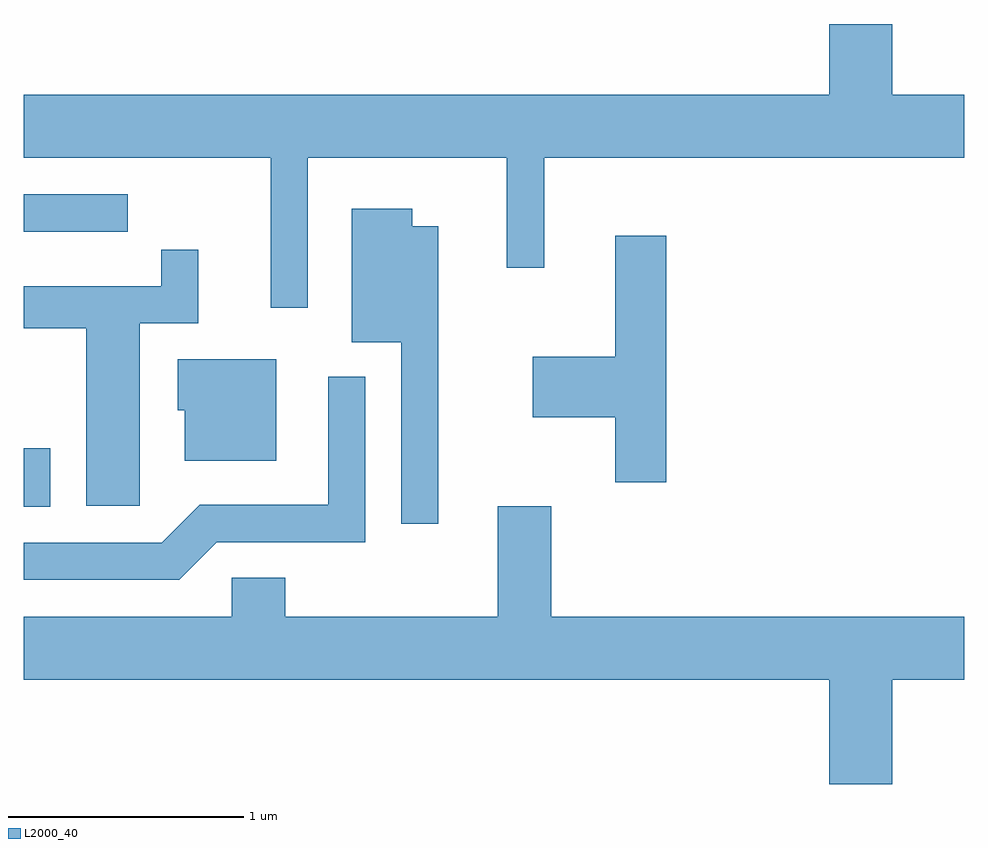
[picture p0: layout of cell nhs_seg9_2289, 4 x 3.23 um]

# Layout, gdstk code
import gdstk
lib = gdstk.Library(unit=1e-6, precision=1e-09)
def R(c, l, rs):  # rectangles x0, y0, x1, y1
    for r in rs: c.add(gdstk.rectangle(r[:2], r[2:], *l))
def P(c, l, *ps):  # polygons
    for p in ps: c.add(gdstk.Polygon(p, *l))
L2000_40 = (2000, 40)

nhs_seg9_2289 = lib.new_cell('nhs_seg9_2289')
R(nhs_seg9_2289, L2000_40, [(251.611,2043.611,251.724,2043.859), (251.611,2044.781,252.053,2044.939)])
P(nhs_seg9_2289, L2000_40, [(252.819,2045.096),(253.666,2045.096),(253.666,2044.628),(253.824,2044.628),(253.824,2045.096),(255.611,2045.096),(255.611,2045.364),(255.304,2045.364),(255.304,2045.664),(255.036,2045.664),(255.036,2045.364),(251.611,2045.364),(251.611,2045.096),(252.661,2045.096),(252.661,2044.458),(252.819,2044.458)],
  [(253.374,2044.804),(253.264,2044.804),(253.264,2044.879),(253.006,2044.879),(253.006,2044.311),(253.216,2044.311),(253.216,2043.538),(253.374,2043.538)],
  [(254.344,2044.764),(254.126,2044.764),(254.126,2044.249),(253.776,2044.249),(253.776,2043.991),(254.126,2043.991),(254.126,2043.716),(254.344,2043.716)],
  [(252.104,2044.391),(252.354,2044.391),(252.354,2044.703),(252.196,2044.703),(252.196,2044.549),(251.611,2044.549),(251.611,2044.371),(251.876,2044.371),(251.876,2043.616),(252.104,2043.616)],
  [(252.684,2044.239),(252.266,2044.239),(252.266,2044.021),(252.296,2044.021),(252.296,2043.806),(252.684,2043.806)],
  [(252.432,2043.461),(253.064,2043.461),(253.064,2044.163),(252.906,2044.163),(252.906,2043.619),(252.359,2043.619),(252.199,2043.459),(251.611,2043.459),(251.611,2043.301),(252.272,2043.301)],
  [(255.304,2042.876),(255.611,2042.876),(255.611,2043.144),(253.854,2043.144),(253.854,2043.614),(253.626,2043.614),(253.626,2043.144),(252.724,2043.144),(252.724,2043.309),(252.496,2043.309),(252.496,2043.144),(251.611,2043.144),(251.611,2042.876),(255.036,2042.876),(255.036,2042.432),(255.304,2042.432)])

lib.write_gds('nhs_seg9_2289.gds')
